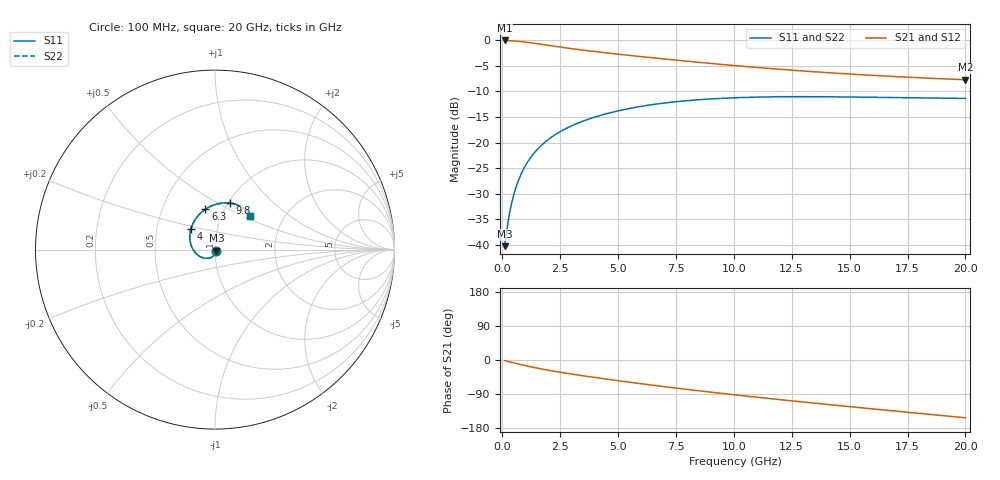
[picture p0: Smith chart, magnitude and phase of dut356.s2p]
! Touchstone file exported from HFSS 2024.1.0
!  File:  C:/UserFiles/LocalFiles/RDL_TSV_Batchsim/temp_RDL_TSV_356_1779638993.aedt
!  Generated:  12:29:45 AM May 25, 2026
!  Design:  RDL_TSV
!  Project:  temp_RDL_TSV_356_1779638993
!  Setup:  Setup1
!  Solution:  Sweep
! Variables:
!  dtsv = 12.05um
!  hbump = 3um
!  htsv = 97.62um
!  ldown = 274.14um
!  lrdl = 222.95um
!  p = 40
!  p1 = 50.23um
!  rhole = 10um
!  subl = 1714.22um
!  t = 450um
!  tdown = 4.08um
!  trdl = 4.23um
!  viad = 10um
!  wdown = 25.89um
!  wrdl = 18.24um
!  xbump = 18um
# GHz S MA R 50.000000
! Terminal data exported
! Port[1] = TM1_1_T1
! Port[2] = TM1_4_T1
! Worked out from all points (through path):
!   200 points, 100 MHz to 20 GHz, reference 50 ohm
!   highest |S21| = -0.07 dB at 100 MHz (marker M1); lowest = -7.7 dB at 20 GHz (marker M2)
!   group delay of S21, straight-line fit = 19.8 ps
!   lowest |S11| = -40.2 dB at 100 MHz (marker M3), VSWR 1.02, Z = 50.7 - j0.645 ohm
!   |S11| at or under -10 dB: start of sweep to end of sweep
!   |S22| runs from -40.2 to -11.0 dB; largest |S21 - S12| = 8.9e-15
!   S11 on the Smith chart (normalised r, x): 100 MHz: 1.01, -0.01; 4 GHz: 0.75, +0.18; 6.3 GHz: 0.82, +0.39; 9.8 GHz: 1.02, +0.57; 20 GHz: 1.36, +0.55
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0.1  0.009737 -40.8  0.9917 -1.6  0.9917 -1.6  0.009737 -40.8
! Gamma 0 0 0 0
! Port Impedance 50 0 50 0
0.2  0.01424 -64.3  0.99 -3.2  0.99 -3.2  0.01424 -64.3
0.3  0.01966 -78.4  0.9876 -4.7  0.9876 -4.7  0.01965 -78.4
0.4  0.02539 -88.6  0.9846 -6.3  0.9846 -6.3  0.02539 -88.5
0.5  0.03122 -96.7  0.981 -7.8  0.981 -7.8  0.03122 -96.7
0.6  0.03704 -103.7  0.9767 -9.2  0.9767 -9.2  0.03704 -103.7
0.8  0.04849 -115.8  0.9668 -12.1  0.9668 -12.1  0.04849 -115.8
1.1  0.0649 -131.3  0.9488 -16.3  0.9488 -16.3  0.0649 -131.3
1.5  0.08507 -149.0  0.9217 -21.4  0.9217 -21.4  0.08506 -149.0
2.1  0.1118 -171.4  0.8801 -28.2  0.8801 -28.2  0.1118 -171.4
2.7  0.1351 169.9  0.8418 -34.3  0.8418 -34.3  0.1351 169.9
3.5  0.1622 149.7  0.7972 -41.8  0.7972 -41.8  0.1622 149.7
4  0.1773 139.0  0.7726 -46.2  0.7726 -46.2  0.1773 139.0
5.1  0.2062 119.7  0.7245 -55.4  0.7245 -55.4  0.2061 119.7
6.3  0.2313 103.3  0.6784 -65.0  0.6784 -65.0  0.2312 103.3
6.8  0.2399 97.5  0.6607 -68.8  0.6607 -68.8  0.2399 97.5
8.3  0.2599 83.1  0.6121 -79.9  0.6121 -79.9  0.2598 83.1
9.8  0.2721 72.0  0.5699 -90.3  0.5699 -90.3  0.2721 72.0
10.1  0.2738 70.1  0.5622 -92.3  0.5622 -92.3  0.2738 70.1
13.4  0.2802 54.5  0.4919 -113.4  0.4919 -113.4  0.2802 54.5
16.7  0.2747 46.4  0.4435 -133.2  0.4435 -133.2  0.2747 46.4
20  0.2698 43.6  0.4101 -152.5  0.4101 -152.5  0.2698 43.6
